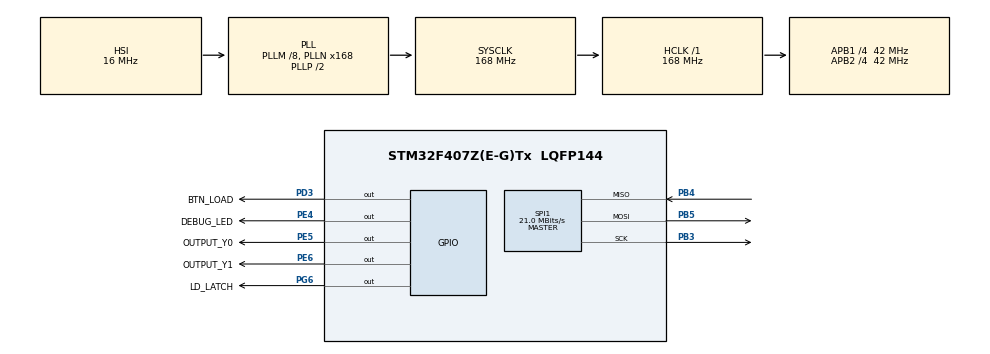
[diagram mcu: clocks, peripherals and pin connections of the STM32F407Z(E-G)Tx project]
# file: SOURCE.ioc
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Mcu.Family=STM32F4
Mcu.Name=STM32F407Z(E-G)Tx
Mcu.Package=LQFP144
NVIC.PriorityGroup=NVIC_PRIORITYGROUP_4
NVIC.TIM2_IRQn=true\:0\:0\:false\:false\:true\:true\:true
PA13.Mode=Serial_Wire
PA13.Signal=SYS_JTMS-SWDIO
PA14.Mode=Serial_Wire
PA14.Signal=SYS_JTCK-SWCLK
PB3.Mode=Full_Duplex_Master
PB3.Signal=SPI1_SCK
PB4.Mode=Full_Duplex_Master
PB4.Signal=SPI1_MISO
PB5.Mode=Full_Duplex_Master
PB5.Signal=SPI1_MOSI
PD3.GPIO_Label=BTN_LOAD
PD3.Signal=GPIO_Output
PE4.GPIO_Label=DEBUG_LED
PE4.Signal=GPIO_Output
PE5.GPIO_Label=OUTPUT_Y0
PE5.Signal=GPIO_Output
PE6.GPIO_Label=OUTPUT_Y1
PE6.Signal=GPIO_Output
PG6.GPIO_Label=LD_LATCH
PG6.Signal=GPIO_Output
PH0-OSC_IN.Mode=HSE-External-Oscillator
PH0-OSC_IN.Signal=RCC_OSC_IN
PH1-OSC_OUT.Mode=HSE-External-Oscillator
PH1-OSC_OUT.Signal=RCC_OSC_OUT
ProjectManager.HeapSize=0x200
ProjectManager.StackSize=0x400
ProjectManager.TargetToolchain=STM32CubeIDE
RCC.48MHZClocksFreq_Value=84000000
RCC.AHBFreq_Value=168000000
RCC.APB1CLKDivider=RCC_HCLK_DIV4
RCC.APB1Freq_Value=42000000
RCC.APB1TimFreq_Value=84000000
RCC.APB2CLKDivider=RCC_HCLK_DIV4
RCC.APB2Freq_Value=42000000
RCC.APB2TimFreq_Value=84000000
RCC.CortexFreq_Value=168000000
RCC.HCLKFreq_Value=168000000
RCC.HSE_VALUE=8000000
RCC.HSI_VALUE=16000000
RCC.LSE_VALUE=32768
RCC.PLLM=8
RCC.PLLN=168
RCC.SYSCLKFreq_VALUE=168000000
RCC.SYSCLKSource=RCC_SYSCLKSOURCE_PLLCLK
RCC.VCOOutputFreq_Value=336000000
SPI1.CalculateBaudRate=21.0 MBits/s
SPI1.Direction=SPI_DIRECTION_2LINES
SPI1.Mode=SPI_MODE_MASTER
SPI1.VirtualType=VM_MASTER
TIM2.Period=10-1
TIM2.Prescaler=840-1
VP_TIM2_VS_ClockSourceINT.Mode=Internal
board=custom

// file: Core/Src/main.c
/* USER CODE BEGIN Header */
/**
  ******************************************************************************
  * @file           : main.c
  * @brief          : Main program body
  ******************************************************************************
  * @attention
  *
  * <h2><center>&copy; Copyright (c) 2024 STMicroelectronics.
  * All rights reserved.</center></h2>
  *
  * This software component is licensed by ST under BSD 3-Clause license,
  * the "License"; You may not use this file except in compliance with the
  * License. You may obtain a copy of the License at:
  *                        opensource.org/licenses/BSD-3-Clause
  *
  ******************************************************************************
  */
/* USER CODE END Header */
#include "main.h"

/* USER CODE BEGIN Includes */

#include "led_7seg.h"
#include "software_timer.h"
#include "spi.h"
#include "tim.h"

//#include "led_7seg.c"
//#include "software_timer.c"

/* USER CODE END Includes */

SPI_HandleTypeDef hspi1;

TIM_HandleTypeDef htim2;

void SystemClock_Config(void);
static void MX_GPIO_Init(void);
static void MX_TIM2_Init(void);
static void MX_SPI1_Init(void);
/* USER CODE BEGIN PFP */
void system_init();
void test_ledDebug();
void test_ledY0();
void test_ledY1();
void test_7seg();
/* USER CODE END PFP */

int main(void)
{

  /* MCU Configuration--------------------------------------------------------*/

  /* Reset of all peripherals, Initializes the Flash interface and the Systick. */
  HAL_Init();

  /* Configure the system clock */
  SystemClock_Config();

  /* Initialize all configured peripherals */
  MX_GPIO_Init();
  MX_TIM2_Init();
  MX_SPI1_Init();
  /* USER CODE BEGIN 2 */
  system_init();
  led7_SetColon(0);

  uint8_t led7seg[4] = {2, 3, 5, 9};
  int tick = 0;
  int sec = 40;
  int min = (led7seg[2] * 10 + led7seg[3]);
  int hour = (led7seg[0] * 10 + led7seg[1]);
  int colon_status = 0;

  // frequency =  Hz
  setTimer2(1);

  /* USER CODE END 2 */

  /* Infinite loop */
  while (1)
  {

    /* USER CODE BEGIN 3 */

	  while (!flag_timer2);
	  flag_timer2 = 0;

	  tick = (tick + 1) % 1000;
	  if (tick % 250 == 0) colon_status = 1 - colon_status;
	  if (tick == 0) {
		  sec = (sec + 1) % 60;
		  if (sec == 0) {
			  min = (min + 1) % 60;
			  if (min == 0) {
				  hour = (hour + 1) % 24;
			  }
		  }
	  }
	  led7seg[0] = hour / 10;
	  led7seg[1] = hour % 10;
	  led7seg[2] = min / 10;
	  led7seg[3] = min % 10;

	  led7_SetColon(colon_status);
	  led7_SetDigit(led7seg[0], 0, 0);
	  led7_SetDigit(led7seg[1], 1, 0);
	  led7_SetDigit(led7seg[2], 2, 0);
	  led7_SetDigit(led7seg[3], 3, 0);

//	  test_ledDebug();
//	  test_ledY0();
//	  test_ledY1();
//	  test_7seg();
  }
  /* USER CODE END 3 */
}

void SystemClock_Config(void)
{
  RCC_OscInitTypeDef RCC_OscInitStruct = {0};
  RCC_ClkInitTypeDef RCC_ClkInitStruct = {0};

  /** Configure the main internal regulator output voltage
  */
  __HAL_RCC_PWR_CLK_ENABLE();
  __HAL_PWR_VOLTAGESCALING_CONFIG(PWR_REGULATOR_VOLTAGE_SCALE1);
  /** Initializes the RCC Oscillators according to the specified parameters
  * in the RCC_OscInitTypeDef structure.
  */
  RCC_OscInitStruct.OscillatorType = RCC_OSCILLATORTYPE_HSI;
  RCC_OscInitStruct.HSIState = RCC_HSI_ON;
  RCC_OscInitStruct.HSICalibrationValue = RCC_HSICALIBRATION_DEFAULT;
  RCC_OscInitStruct.PLL.PLLState = RCC_PLL_ON;
  RCC_OscInitStruct.PLL.PLLSource = RCC_PLLSOURCE_HSI;
  RCC_OscInitStruct.PLL.PLLM = 8;
  RCC_OscInitStruct.PLL.PLLN = 168;
  RCC_OscInitStruct.PLL.PLLP = RCC_PLLP_DIV2;
  RCC_OscInitStruct.PLL.PLLQ = 4;
  if (HAL_RCC_OscConfig(&RCC_OscInitStruct) != HAL_OK)
  {
    Error_Handler();
  }
  /** Initializes the CPU, AHB and APB buses clocks
  */
  RCC_ClkInitStruct.ClockType = RCC_CLOCKTYPE_HCLK|RCC_CLOCKTYPE_SYSCLK
                              |RCC_CLOCKTYPE_PCLK1|RCC_CLOCKTYPE_PCLK2;
  RCC_ClkInitStruct.SYSCLKSource = RCC_SYSCLKSOURCE_PLLCLK;
  RCC_ClkInitStruct.AHBCLKDivider = RCC_SYSCLK_DIV1;
  RCC_ClkInitStruct.APB1CLKDivider = RCC_HCLK_DIV4;
  RCC_ClkInitStruct.APB2CLKDivider = RCC_HCLK_DIV4;

  if (HAL_RCC_ClockConfig(&RCC_ClkInitStruct, FLASH_LATENCY_5) != HAL_OK)
  {
    Error_Handler();
  }
}

static void MX_SPI1_Init(void)
{

  /* SPI1 parameter configuration*/
  hspi1.Instance = SPI1;
  hspi1.Init.Mode = SPI_MODE_MASTER;
  hspi1.Init.Direction = SPI_DIRECTION_2LINES;
  hspi1.Init.DataSize = SPI_DATASIZE_8BIT;
  hspi1.Init.CLKPolarity = SPI_POLARITY_LOW;
  hspi1.Init.CLKPhase = SPI_PHASE_1EDGE;
  hspi1.Init.NSS = SPI_NSS_SOFT;
  hspi1.Init.BaudRatePrescaler = SPI_BAUDRATEPRESCALER_2;
  hspi1.Init.FirstBit = SPI_FIRSTBIT_MSB;
  hspi1.Init.TIMode = SPI_TIMODE_DISABLE;
  hspi1.Init.CRCCalculation = SPI_CRCCALCULATION_DISABLE;
  hspi1.Init.CRCPolynomial = 10;
  if (HAL_SPI_Init(&hspi1) != HAL_OK)
  {
    Error_Handler();
  }

}

static void MX_TIM2_Init(void)
{

  TIM_ClockConfigTypeDef sClockSourceConfig = {0};
  TIM_MasterConfigTypeDef sMasterConfig = {0};

  htim2.Instance = TIM2;
  htim2.Init.Prescaler = 840-1;
  htim2.Init.CounterMode = TIM_COUNTERMODE_UP;
  htim2.Init.Period = 100-1;
  htim2.Init.ClockDivision = TIM_CLOCKDIVISION_DIV1;
  htim2.Init.AutoReloadPreload = TIM_AUTORELOAD_PRELOAD_DISABLE;
  if (HAL_TIM_Base_Init(&htim2) != HAL_OK)
  {
    Error_Handler();
  }
  sClockSourceConfig.ClockSource = TIM_CLOCKSOURCE_INTERNAL;
  if (HAL_TIM_ConfigClockSource(&htim2, &sClockSourceConfig) != HAL_OK)
  {
    Error_Handler();
  }
  sMasterConfig.MasterOutputTrigger = TIM_TRGO_RESET;
  sMasterConfig.MasterSlaveMode = TIM_MASTERSLAVEMODE_DISABLE;
  if (HAL_TIMEx_MasterConfigSynchronization(&htim2, &sMasterConfig) != HAL_OK)
  {
    Error_Handler();
  }

}

static void MX_GPIO_Init(void)
{
  GPIO_InitTypeDef GPIO_InitStruct = {0};

  /* GPIO Ports Clock Enable */
  __HAL_RCC_GPIOE_CLK_ENABLE();
  __HAL_RCC_GPIOH_CLK_ENABLE();
  __HAL_RCC_GPIOG_CLK_ENABLE();
  __HAL_RCC_GPIOA_CLK_ENABLE();
  __HAL_RCC_GPIOD_CLK_ENABLE();
  __HAL_RCC_GPIOB_CLK_ENABLE();

  /*Configure GPIO pin Output Level */
  HAL_GPIO_WritePin(GPIOE, DEBUG_LED_Pin|OUTPUT_Y0_Pin|OUTPUT_Y1_Pin, GPIO_PIN_RESET);

  /*Configure GPIO pin Output Level */
  HAL_GPIO_WritePin(LD_LATCH_GPIO_Port, LD_LATCH_Pin, GPIO_PIN_RESET);

  /*Configure GPIO pin Output Level */
  HAL_GPIO_WritePin(BTN_LOAD_GPIO_Port, BTN_LOAD_Pin, GPIO_PIN_RESET);

  /*Configure GPIO pins : DEBUG_LED_Pin OUTPUT_Y0_Pin OUTPUT_Y1_Pin */
  GPIO_InitStruct.Pin = DEBUG_LED_Pin|OUTPUT_Y0_Pin|OUTPUT_Y1_Pin;
  GPIO_InitStruct.Mode = GPIO_MODE_OUTPUT_PP;
  GPIO_InitStruct.Pull = GPIO_NOPULL;
  GPIO_InitStruct.Speed = GPIO_SPEED_FREQ_LOW;
  HAL_GPIO_Init(GPIOE, &GPIO_InitStruct);

  /*Configure GPIO pin : LD_LATCH_Pin */
  GPIO_InitStruct.Pin = LD_LATCH_Pin;
  GPIO_InitStruct.Mode = GPIO_MODE_OUTPUT_PP;
  GPIO_InitStruct.Pull = GPIO_NOPULL;
  GPIO_InitStruct.Speed = GPIO_SPEED_FREQ_LOW;
  HAL_GPIO_Init(LD_LATCH_GPIO_Port, &GPIO_InitStruct);

  /*Configure GPIO pin : BTN_LOAD_Pin */
  GPIO_InitStruct.Pin = BTN_LOAD_Pin;
  GPIO_InitStruct.Mode = GPIO_MODE_OUTPUT_PP;
  GPIO_InitStruct.Pull = GPIO_NOPULL;
  GPIO_InitStruct.Speed = GPIO_SPEED_FREQ_LOW;
  HAL_GPIO_Init(BTN_LOAD_GPIO_Port, &GPIO_InitStruct);

}

/* USER CODE BEGIN 4 */
void system_init(){
	HAL_GPIO_WritePin(OUTPUT_Y0_GPIO_Port, OUTPUT_Y0_Pin, 0);
	HAL_GPIO_WritePin(OUTPUT_Y1_GPIO_Port, OUTPUT_Y1_Pin, 0);
	HAL_GPIO_WritePin(DEBUG_LED_GPIO_Port, DEBUG_LED_Pin, 0);

	timer_init();
	led7_init();
	setTimer2(100);
}

uint8_t count_LED_debug = 0;
uint8_t count_LED_Y0 = 0;
uint8_t count_LED_Y1 = 0;

void test_ledDebug(){
	count_LED_debug = (count_LED_debug + 1) % 20;
	if (count_LED_debug == 0) {
		HAL_GPIO_TogglePin(DEBUG_LED_GPIO_Port, DEBUG_LED_Pin);
	}
}

void test_ledY0(){
	count_LED_Y0 = (count_LED_Y0 + 1) % 100;
	if (count_LED_Y0 > 40) {
		HAL_GPIO_WritePin(OUTPUT_Y0_GPIO_Port, OUTPUT_Y0_Pin, 1);
	} else {
		HAL_GPIO_WritePin(OUTPUT_Y0_GPIO_Port, OUTPUT_Y0_Pin, 0);
	}
}

void test_ledY1(){
	count_LED_Y1 = (count_LED_Y1 + 1) % 40;
	if (count_LED_Y1 > 10) {
		HAL_GPIO_WritePin(OUTPUT_Y1_GPIO_Port, OUTPUT_Y1_Pin, 0);
	} else {
		HAL_GPIO_WritePin(OUTPUT_Y1_GPIO_Port, OUTPUT_Y1_Pin, 1);
	}
}

void test_7seg(){
	// write 1357 to LED (not show dot)
	led7_SetDigit(1, 0, 0);
	led7_SetDigit(3, 1, 0);
	led7_SetDigit(5, 2, 0);
	led7_SetDigit(7, 3, 0);
}

/* USER CODE END 4 */

void Error_Handler(void)
{
  __disable_irq();
  while (1)
  {
  }
}

/************************ (C) COPYRIGHT STMicroelectronics *****END OF FILE****/
